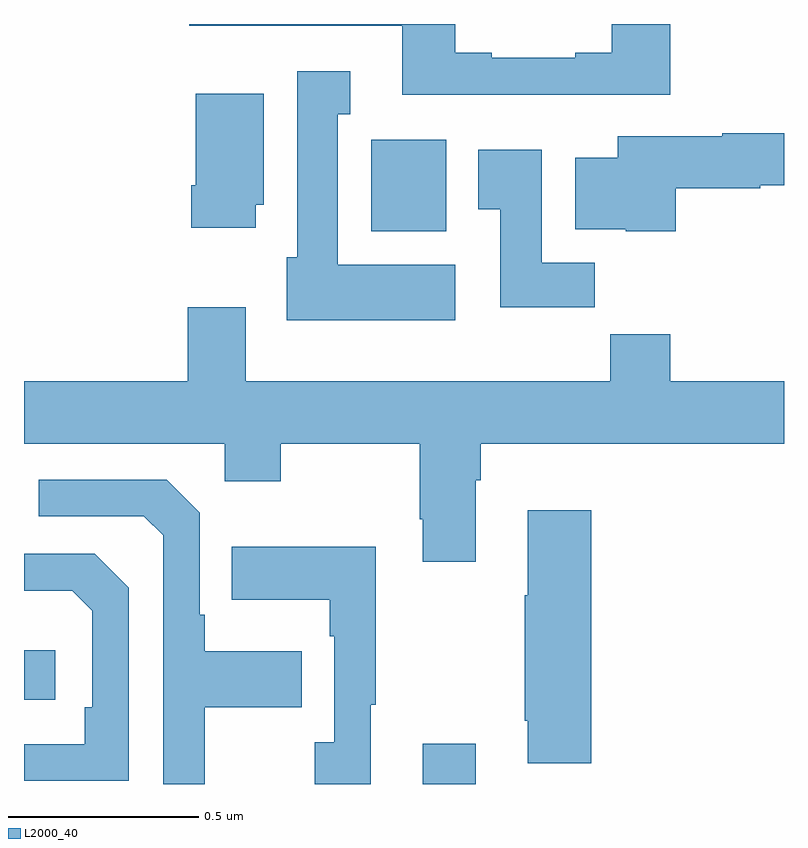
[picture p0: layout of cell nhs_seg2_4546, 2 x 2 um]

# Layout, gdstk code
import gdstk
lib = gdstk.Library(unit=1e-6, precision=1e-09)
def R(c, l, rs):  # rectangles x0, y0, x1, y1
    for r in rs: c.add(gdstk.rectangle(r[:2], r[2:], *l))
def P(c, l, *ps):  # polygons
    for p in ps: c.add(gdstk.Polygon(p, *l))
L2000_40 = (2000, 40)

nhs_seg2_4546 = lib.new_cell('nhs_seg2_4546')
R(nhs_seg2_4546, L2000_40, [(169.049,586.8,169.189,586.906), (168,587.022,168.082,587.152), (168.914,588.254,169.111,588.496)])
P(nhs_seg2_4546, L2000_40, [(169.7,588.8),(169.547,588.8),(169.547,588.724),(169.451,588.724),(169.451,588.711),(169.231,588.711),(169.231,588.724),(169.135,588.724),(169.135,588.8),(168.435,588.8),(168.435,588.795),(168.995,588.795),(168.995,588.614),(169.7,588.614)],
  [(169.135,588.166),(168.826,588.166),(168.826,588.563),(168.859,588.563),(168.859,588.676),(168.719,588.676),(168.719,588.186),(168.692,588.186),(168.692,588.02),(169.135,588.02)],
  [(168.61,588.324),(168.631,588.324),(168.631,588.616),(168.452,588.616),(168.452,588.376),(168.44,588.376),(168.44,588.264),(168.61,588.264)],
  [(169.715,588.368),(169.938,588.368),(169.938,588.376),(170,588.376),(170,588.512),(169.838,588.512),(169.838,588.505),(169.562,588.505),(169.562,588.448),(169.451,588.448),(169.451,588.26),(169.584,588.26),(169.584,588.254),(169.715,588.254)],
  [(169.502,588.172),(169.363,588.172),(169.363,588.469),(169.196,588.469),(169.196,588.313),(169.253,588.313),(169.253,588.054),(169.502,588.054)],
  [(169.189,587.6),(169.202,587.6),(169.202,587.696),(170,587.696),(170,587.86),(169.7,587.86),(169.7,587.984),(169.543,587.984),(169.543,587.86),(168.583,587.86),(168.583,588.055),(168.431,588.055),(168.431,587.86),(168,587.86),(168,587.696),(168.528,587.696),(168.528,587.597),(168.675,587.597),(168.675,587.696),(169.042,587.696),(169.042,587.497),(169.049,587.497),(169.049,587.385),(169.189,587.385)],
  [(168.475,587.002),(168.731,587.002),(168.731,587.149),(168.475,587.149),(168.475,587.245),(168.462,587.245),(168.462,587.514),(168.375,587.601),(168.039,587.601),(168.039,587.505),(168.315,587.505),(168.366,587.454),(168.366,586.8),(168.475,586.8)],
  [(169.493,587.521),(169.325,587.521),(169.325,587.297),(169.318,587.297),(169.318,586.966),(169.325,586.966),(169.325,586.854),(169.493,586.854)],
  [(168.913,587.009),(168.925,587.009),(168.925,587.425),(168.547,587.425),(168.547,587.285),(168.804,587.285),(168.804,587.189),(168.816,587.189),(168.816,586.91),(168.765,586.91),(168.765,586.8),(168.913,586.8)],
  [(168.276,587.316),(168.186,587.406),(168,587.406),(168,587.309),(168.127,587.309),(168.18,587.256),(168.18,587.002),(168.16,587.002),(168.16,586.905),(168,586.905),(168,586.809),(168.276,586.809)])

lib.write_gds('nhs_seg2_4546.gds')
